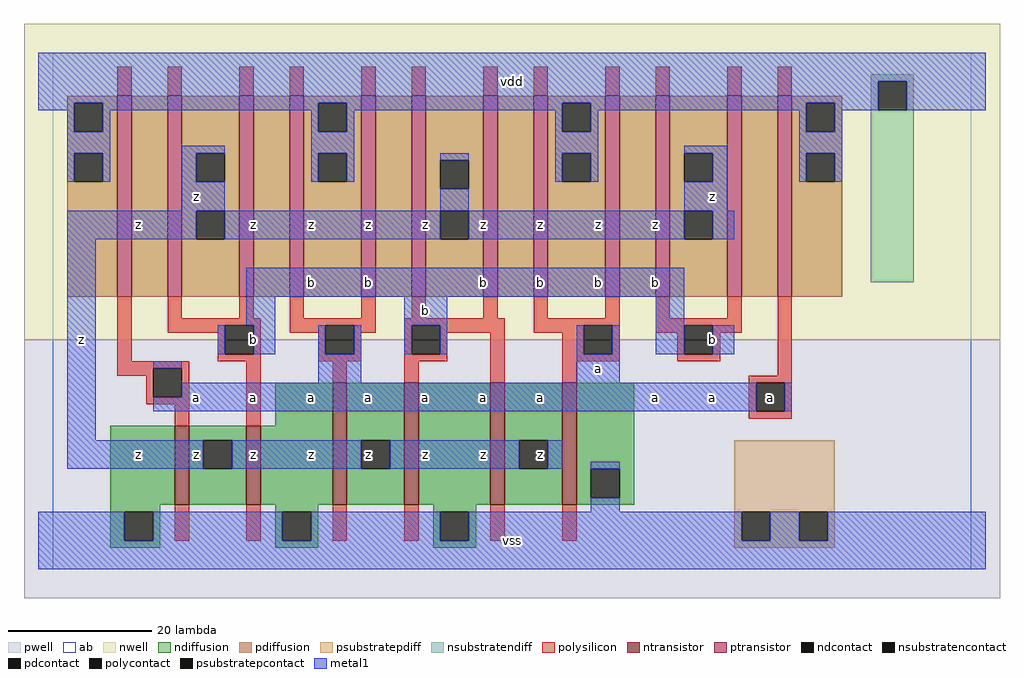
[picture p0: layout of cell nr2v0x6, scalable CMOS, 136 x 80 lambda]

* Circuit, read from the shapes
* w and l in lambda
.subckt nr2v0x6 a b vdd vss z
M1 z a vss vss nfet w=11 l=2
M2 vss b z vss nfet w=11 l=2
M3 z a vss vss nfet w=17 l=2 m=2
M4 vss b z vss nfet w=17 l=2 m=2
M5 n1 a vdd vdd pfet w=28 l=2
M6 z b n1 vdd pfet w=28 l=2
M7 n2 b z vdd pfet w=28 l=2
M8 vdd a n2 vdd pfet w=28 l=2
M9 n3 a vdd vdd pfet w=28 l=2
M10 z b n3 vdd pfet w=28 l=2
M11 n4 b z vdd pfet w=28 l=2
M12 vdd a n4 vdd pfet w=28 l=2
M13 n5 a vdd vdd pfet w=28 l=2
M14 z b n5 vdd pfet w=28 l=2
M15 n6 b z vdd pfet w=28 l=2
M16 vdd a n6 vdd pfet w=28 l=2
.ends

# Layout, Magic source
magic
tech scmos
<< ab >>
rect 0 0 128 72
<< pwell >>
rect -4 -4 132 32
<< nwell >>
rect -4 32 132 76
<< polysilicon >>
rect 9 66 11 70
rect 16 66 18 70
rect 26 66 28 70
rect 33 66 35 70
rect 43 66 45 70
rect 50 66 52 70
rect 60 66 62 70
rect 67 66 69 70
rect 77 66 79 70
rect 84 66 86 70
rect 94 66 96 70
rect 101 66 103 70
rect 9 29 11 38
rect 16 35 18 38
rect 26 35 28 38
rect 33 35 35 38
rect 43 35 45 38
rect 50 35 52 38
rect 60 35 62 38
rect 67 35 69 38
rect 77 35 79 38
rect 16 34 29 35
rect 16 33 24 34
rect 23 30 24 33
rect 28 30 29 34
rect 33 34 45 35
rect 33 33 38 34
rect 23 29 29 30
rect 37 30 38 33
rect 42 33 45 34
rect 49 34 63 35
rect 42 30 43 33
rect 37 29 43 30
rect 49 30 50 34
rect 54 33 63 34
rect 67 34 79 35
rect 67 33 74 34
rect 54 30 55 33
rect 49 29 55 30
rect 9 28 19 29
rect 9 27 14 28
rect 13 24 14 27
rect 18 24 19 28
rect 13 23 19 24
rect 17 20 19 23
rect 27 20 29 29
rect 39 26 41 29
rect 49 26 51 29
rect 61 26 63 33
rect 71 30 74 33
rect 78 30 79 34
rect 84 35 86 38
rect 94 35 96 38
rect 84 34 96 35
rect 84 33 88 34
rect 71 29 79 30
rect 87 30 88 33
rect 92 33 96 34
rect 92 30 93 33
rect 87 29 93 30
rect 71 26 73 29
rect 101 27 103 38
rect 97 26 103 27
rect 97 22 98 26
rect 102 22 103 26
rect 97 21 103 22
rect 17 4 19 9
rect 27 4 29 9
rect 39 4 41 9
rect 49 4 51 9
rect 61 4 63 9
rect 71 4 73 9
<< ndiffusion >>
rect 31 20 39 26
rect 8 9 17 20
rect 19 18 27 20
rect 19 14 21 18
rect 25 14 27 18
rect 19 9 27 14
rect 29 9 39 20
rect 41 18 49 26
rect 41 14 43 18
rect 47 14 49 18
rect 41 9 49 14
rect 51 9 61 26
rect 63 18 71 26
rect 63 14 65 18
rect 69 14 71 18
rect 63 9 71 14
rect 73 14 81 26
rect 73 10 75 14
rect 79 10 81 14
rect 73 9 81 10
rect 8 8 15 9
rect 8 4 10 8
rect 14 4 15 8
rect 31 8 37 9
rect 31 4 32 8
rect 36 4 37 8
rect 53 8 59 9
rect 53 4 54 8
rect 58 4 59 8
rect 8 3 15 4
rect 31 3 37 4
rect 53 3 59 4
<< pdiffusion >>
rect 2 65 9 66
rect 2 61 3 65
rect 7 61 9 65
rect 2 58 9 61
rect 2 54 3 58
rect 7 54 9 58
rect 2 38 9 54
rect 11 38 16 66
rect 18 58 26 66
rect 18 54 20 58
rect 24 54 26 58
rect 18 50 26 54
rect 18 46 20 50
rect 24 46 26 50
rect 18 38 26 46
rect 28 38 33 66
rect 35 65 43 66
rect 35 61 37 65
rect 41 61 43 65
rect 35 58 43 61
rect 35 54 37 58
rect 41 54 43 58
rect 35 38 43 54
rect 45 38 50 66
rect 52 57 60 66
rect 52 53 54 57
rect 58 53 60 57
rect 52 50 60 53
rect 52 46 54 50
rect 58 46 60 50
rect 52 38 60 46
rect 62 38 67 66
rect 69 65 77 66
rect 69 61 71 65
rect 75 61 77 65
rect 69 58 77 61
rect 69 54 71 58
rect 75 54 77 58
rect 69 38 77 54
rect 79 38 84 66
rect 86 58 94 66
rect 86 54 88 58
rect 92 54 94 58
rect 86 50 94 54
rect 86 46 88 50
rect 92 46 94 50
rect 86 38 94 46
rect 96 38 101 66
rect 103 65 110 66
rect 103 61 105 65
rect 109 61 110 65
rect 103 58 110 61
rect 103 54 105 58
rect 109 54 110 58
rect 103 38 110 54
<< metal1 >>
rect -2 68 130 72
rect -2 65 115 68
rect -2 64 3 65
rect 2 61 3 64
rect 7 64 37 65
rect 7 61 8 64
rect 2 58 8 61
rect 36 61 37 64
rect 41 64 71 65
rect 41 61 42 64
rect 2 54 3 58
rect 7 54 8 58
rect 18 58 24 59
rect 18 54 20 58
rect 36 58 42 61
rect 70 61 71 64
rect 75 64 105 65
rect 75 61 76 64
rect 70 58 76 61
rect 104 61 105 64
rect 109 64 115 65
rect 119 64 130 68
rect 109 61 110 64
rect 36 54 37 58
rect 41 54 42 58
rect 54 57 58 58
rect 18 50 24 54
rect 70 54 71 58
rect 75 54 76 58
rect 88 58 94 59
rect 92 54 94 58
rect 104 58 110 61
rect 104 54 105 58
rect 109 54 110 58
rect 54 50 58 53
rect 88 50 94 54
rect 2 46 20 50
rect 24 46 54 50
rect 58 46 88 50
rect 92 46 95 50
rect 2 18 6 46
rect 27 38 88 42
rect 27 34 31 38
rect 49 34 55 38
rect 23 30 24 34
rect 28 30 31 34
rect 37 30 38 34
rect 42 30 43 34
rect 49 30 50 34
rect 54 30 55 34
rect 73 30 74 34
rect 78 30 79 34
rect 84 30 88 38
rect 92 30 95 34
rect 14 28 18 29
rect 37 26 43 30
rect 73 26 79 30
rect 18 24 98 26
rect 14 22 98 24
rect 102 22 103 26
rect 2 14 21 18
rect 25 14 43 18
rect 47 14 65 18
rect 69 14 71 18
rect 75 14 79 15
rect 75 8 79 10
rect -2 4 10 8
rect 14 4 32 8
rect 36 4 54 8
rect 58 4 96 8
rect 100 4 104 8
rect 108 4 130 8
rect -2 0 130 4
<< ntransistor >>
rect 17 9 19 20
rect 27 9 29 20
rect 39 9 41 26
rect 49 9 51 26
rect 61 9 63 26
rect 71 9 73 26
<< ptransistor >>
rect 9 38 11 66
rect 16 38 18 66
rect 26 38 28 66
rect 33 38 35 66
rect 43 38 45 66
rect 50 38 52 66
rect 60 38 62 66
rect 67 38 69 66
rect 77 38 79 66
rect 84 38 86 66
rect 94 38 96 66
rect 101 38 103 66
<< polycontact >>
rect 24 30 28 34
rect 38 30 42 34
rect 50 30 54 34
rect 14 24 18 28
rect 74 30 78 34
rect 88 30 92 34
rect 98 22 102 26
<< ndcontact >>
rect 21 14 25 18
rect 43 14 47 18
rect 65 14 69 18
rect 75 10 79 14
rect 10 4 14 8
rect 32 4 36 8
rect 54 4 58 8
<< pdcontact >>
rect 3 61 7 65
rect 3 54 7 58
rect 20 54 24 58
rect 20 46 24 50
rect 37 61 41 65
rect 37 54 41 58
rect 54 53 58 57
rect 54 46 58 50
rect 71 61 75 65
rect 71 54 75 58
rect 88 54 92 58
rect 88 46 92 50
rect 105 61 109 65
rect 105 54 109 58
<< psubstratepcontact >>
rect 96 4 100 8
rect 104 4 108 8
<< nsubstratencontact >>
rect 115 64 119 68
<< psubstratepdiff >>
rect 95 8 109 18
rect 95 4 96 8
rect 100 4 104 8
rect 108 4 109 8
rect 95 3 109 4
<< nsubstratendiff >>
rect 114 68 120 69
rect 114 64 115 68
rect 119 64 120 68
rect 114 40 120 64
<< labels >>
rlabel metal1 12 16 12 16 6 z
rlabel metal1 20 16 20 16 6 z
rlabel metal1 20 24 20 24 6 a
rlabel metal1 4 32 4 32 6 z
rlabel metal1 20 52 20 52 6 z
rlabel metal1 12 48 12 48 6 z
rlabel metal1 28 16 28 16 6 z
rlabel metal1 36 16 36 16 6 z
rlabel ndcontact 44 16 44 16 6 z
rlabel metal1 28 24 28 24 6 a
rlabel metal1 36 24 36 24 6 a
rlabel metal1 44 24 44 24 6 a
rlabel metal1 28 32 28 32 6 b
rlabel metal1 36 40 36 40 6 b
rlabel metal1 44 40 44 40 6 b
rlabel metal1 28 48 28 48 6 z
rlabel metal1 36 48 36 48 6 z
rlabel metal1 44 48 44 48 6 z
rlabel metal1 64 4 64 4 6 vss
rlabel metal1 60 16 60 16 6 z
rlabel ndcontact 68 16 68 16 6 z
rlabel metal1 52 16 52 16 6 z
rlabel metal1 52 24 52 24 6 a
rlabel metal1 60 24 60 24 6 a
rlabel metal1 68 24 68 24 6 a
rlabel metal1 52 36 52 36 6 b
rlabel metal1 60 40 60 40 6 b
rlabel metal1 68 40 68 40 6 b
rlabel metal1 52 48 52 48 6 z
rlabel metal1 60 48 60 48 6 z
rlabel metal1 68 48 68 48 6 z
rlabel metal1 64 68 64 68 6 vdd
rlabel polycontact 100 24 100 24 6 a
rlabel metal1 84 24 84 24 6 a
rlabel metal1 92 24 92 24 6 a
rlabel metal1 92 32 92 32 6 b
rlabel metal1 76 28 76 28 6 a
rlabel metal1 76 40 76 40 6 b
rlabel metal1 84 40 84 40 6 b
rlabel metal1 76 48 76 48 6 z
rlabel metal1 92 52 92 52 6 z
rlabel metal1 84 48 84 48 6 z
<< end >>
